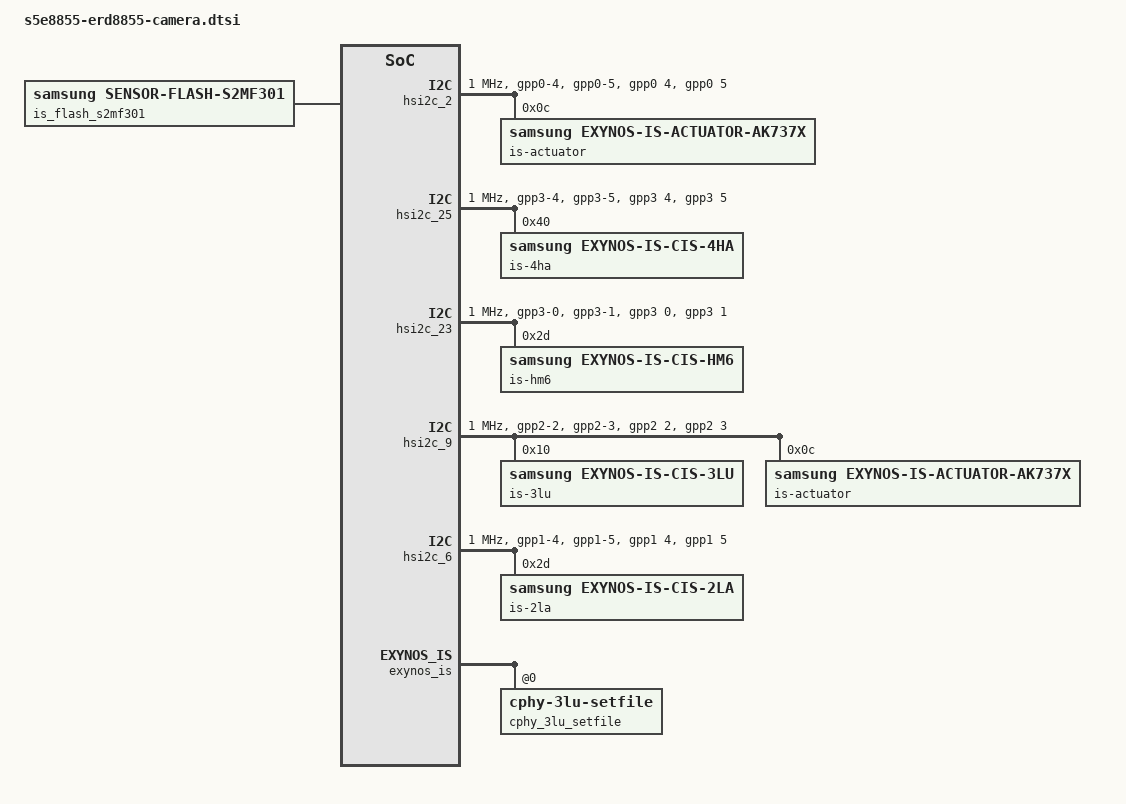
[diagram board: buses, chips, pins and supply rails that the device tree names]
/*
 * Samsung Exynos SoC series Pablo driver
 *
 * Copyright (c) 2024 Samsung Electronics Co., Ltd
 *
 * This program is free software; you can redistribute it and/or modify
 * it under the terms of the GNU General Public License version 2 as
 * published by the Free Software Foundation.
 */

#include <dt-bindings/camera/exynos_is_dt.h>


#include "module_2la.dtsi" /* Ultra Wide CAMERA */
#include "module_3lu.dtsi" /* FRONT CAMERA */
#include "module_hm6_19p2.dtsi" /* REAR CAMERA */
#include "module_4ha.dtsi" /* Tele CAMERA */

/ {
	fragment@camera {
		target-path = "/";
		__overlay__ {
			#address-cells = <2>;
			#size-cells = <1>;
			interrupt-parent = <&gic>;

			is_flash_s2mf301: is_flash_s2mf301@0 {
				compatible = "samsung,sensor-flash-s2mf301";
				sensor-module = <&is_sensor_hm6>,
						<&is_sensor_4ha>,
						<&is_sensor_2la>;
				id = <0 2 4>;
				led_ch = <1>;
				status = "okay";
			};

			/* UW CAMERA */
			is_sensor_2la: is_sensor_2la@2D {
				pinctrl-names = "pin0", "pin1", "pin2", "release";
				pinctrl-0 = <>;
				pinctrl-1 = <&sensor_mclk1_out>;
				pinctrl-2 = <&sensor_mclk1_fn>;
				pinctrl-3 = <>;

				/* board */
				position = <4>;	/* Rear:0. Front1:1. Tele:2. Front2:3. Ultra Wide:4 */
				id = <4>; /* is_sensor id */
				mclk_ch = <1>;
				sensor_i2c_ch = <4>; /* SENSOR_CONTROL_I2C2 */
				sensor_name = "S5K2LA";

				/* peri */
				af {
					product_name = <100>; /* NOTHING */
				};

				flash {
					product_name = <19>; /* S2MF301 */
				};

				ois {
					product_name = <100>; /* NOTHING */
				};

				power_seq {
					use = <1>;
					gpio_mclk = <&gpg0 2 0x1>;

					scenario_normal_on {
						sensor_scenario = <SENSOR_SCENARIO_NORMAL>;
						gpio_scenario = <GPIO_SCENARIO_ON>;

						/* A start node number should be over the 10 for reserved number 0~9. */
						/* pname = "name"; pin = <act value dealy voltage>; gpio = <gpx# # 0x1>; */
						3 { pname; pin; gpio; };
						5 { pname; pin; gpio; };
						10 { pname = "sen_rst low"; pin = <PIN_OUTPUT 0 0>; gpio = <&gpp0 7 0x1>; };
						20 { pname = "VDDA_2.8_UW_CAM"; pin = <PIN_REGULATOR 1 0>; };
						30 { pname = "VDDD_1.05V_CAM"; pin = <PIN_REGULATOR 1 0>; };
						40 { pname = "VDDIO_1.8V_CAM"; pin = <PIN_REGULATOR 1 0>; share = <SRT_ACQUIRE SHARED_PIN0 1>;};
						50 { pname = "on_i2c"; pin = <PIN_I2C 1 10>; };
						60 { pname = "sen_rst high"; pin = <PIN_OUTPUT 1 300>; gpio = <&gpp0 7 0x1>; };
						70 { pname = "pin"; pin = <PIN_FUNCTION 2 0>; };
						80 { pname = "MCLK"; pin = <PIN_MCLK 1 2000>; };
					};

					scenario_vision_on {
						sensor_scenario = <SENSOR_SCENARIO_VISION>;
						gpio_scenario = <GPIO_SCENARIO_ON>;

						/* A start node number should be over the 10 for reserved number 0~9. */
						/* pname = "name"; pin = <act value dealy voltage>; gpio = <gpx# # 0x1>; */
						3 { pname; pin; gpio; };
						5 { pname; pin; gpio; };
						10 { pname = "sen_rst low"; pin = <PIN_OUTPUT 0 0>; gpio = <&gpp0 7 0x1>; };
						20 { pname = "VDDA_2.8_UW_CAM"; pin = <PIN_REGULATOR 1 0>; };
						30 { pname = "VDDD_1.05V_CAM"; pin = <PIN_REGULATOR 1 0>; };
						40 { pname = "VDDIO_1.8V_CAM"; pin = <PIN_REGULATOR 1 0>; share = <SRT_ACQUIRE SHARED_PIN0 1>;};
						50 { pname = "on_i2c"; pin = <PIN_I2C 1 10>; };
						60 { pname = "sen_rst high"; pin = <PIN_OUTPUT 1 300>; gpio = <&gpp0 7 0x1>; };
						70 { pname = "pin"; pin = <PIN_FUNCTION 2 0>; };
						80 { pname = "MCLK"; pin = <PIN_MCLK 1 2000>; };
					};

					scenario_hw_init_normal_on {
						/* HW INIT (without ois power control) */
						sensor_scenario = <SENSOR_SCENARIO_HW_INIT>;
						gpio_scenario = <GPIO_SCENARIO_ON>;

						10 { pname; pin; gpio; };
						20 { pname; pin; gpio; };
						30 { pname; pin; gpio; };
						40 { pname; pin; gpio; };
						50 { pname; pin; gpio; };
						60 { pname; pin; gpio; };
						70 { pname; pin; gpio; };
						80 { pname; pin; gpio; };
						90 { pname; pin; gpio; };
						100 { pname; pin; gpio; };
						110 { pname; pin; gpio; };
						120 { pname; pin; gpio; };
					};

					scenario_normal_off {
						sensor_scenario = <SENSOR_SCENARIO_NORMAL>;
						gpio_scenario = <GPIO_SCENARIO_OFF>;

						/* A start node number should be over the 10 for reserved number 0~9. */
						/* pname = "name"; pin = <act value dealy voltage>; gpio = <gpx# # 0x1>; */
						10 { pname = "sen_rst low"; pin = <PIN_OUTPUT 0 0>; gpio = <&gpp0 7 0x1>; };
						20 { pname = "off_i2c"; pin = <PIN_I2C 0 0>; };
						30 { pname = "VDDIO_1.8V_CAM"; pin = <PIN_REGULATOR 0 0>; share = <SRT_RELEASE SHARED_PIN0 0>;};
						40 { pname = "VDDD_1.05V_CAM"; pin = <PIN_REGULATOR 0 0>; };
						50 { pname = "VDDA_2.8_UW_CAM"; pin = <PIN_REGULATOR 0 0>; };
						60 { pname = "MCLK"; pin = <PIN_MCLK 0 0>; };
						70 { pname = "pin"; pin = <PIN_OUTPUT 0 0>; };
						140 { pname; pin; gpio; };
						145 { pname; pin; gpio; };
					};

					scenario_vision_off {
						sensor_scenario = <SENSOR_SCENARIO_VISION>;
						gpio_scenario = <GPIO_SCENARIO_OFF>;

						/* A start node number should be over the 10 for reserved number 0~9. */
						/* pname = "name"; pin = <act value dealy voltage>; gpio = <gpx# # 0x1>; */
						10 { pname = "sen_rst low"; pin = <PIN_OUTPUT 0 0>; gpio = <&gpp0 7 0x1>; };
						20 { pname = "off_i2c"; pin = <PIN_I2C 0 0>; };
						30 { pname = "VDDIO_1.8V_CAM"; pin = <PIN_REGULATOR 0 0>; share = <SRT_RELEASE SHARED_PIN0 0>;};
						40 { pname = "VDDD_1.05V_CAM"; pin = <PIN_REGULATOR 0 0>; };
						50 { pname = "VDDA_2.8_UW_CAM"; pin = <PIN_REGULATOR 0 0>; };
						60 { pname = "MCLK"; pin = <PIN_MCLK 0 0>; };
						70 { pname = "pin"; pin = <PIN_OUTPUT 0 0>; };
						140 { pname; pin; gpio; };
						145 { pname; pin; gpio; };
					};
				};
			};

			/* REAR CAMERA */
			is_sensor_hm6: is_sensor_hm6@2D {
				pinctrl-names = "pin0", "pin1", "pin2", "release";
				pinctrl-0 = <>;
				pinctrl-1 = <&sensor_mclk0_out>;
				pinctrl-2 = <&sensor_mclk0_fn>;
				pinctrl-3 = <>;

				/* board */
				position = <0>; /* Rear:0. Front:1, Tele:2 */
				id = <0>; /* is_sensor id */
				mclk_ch = <0>;
				mclk_freq = <19200>;
				sensor_i2c_ch = <0>; /* SENSOR_CONTROL_I2C0 */

				/* peri */
				af {
					product_name = <18>; /* ACTUATOR_NAME_AK737X */
					i2c_ch = <1>; /* SENSOR_CONTROL_I2C1 */
				};

				flash {
					product_name = <19>; /* S2MF301 */
				};

				ois {
					product_name = <100>; /* NOTHING */
				};

				eeprom {
					product_name = <100>;
				};

				power_seq {
					gpio_mclk = <&gpg0 1 0x1>;
					scenario_normal_on {
						10 { pname = "sen_rst low";     pin = <PIN_OUTPUT 0 1000>; gpio = <&gpg2 1 0x1>; };
						20 { pname = "VDDIO_1.8V_CAM"; pin = <PIN_REGULATOR 1 0>; share = <SRT_ACQUIRE SHARED_PIN0 1>; };
						30 { pname; pin; gpio; };
						40 { pname = "RCAM1_AVDD_1P8";  pin = <PIN_OUTPUT 1 1000>; gpio = <&gpp3 6 0x1>; };  /* AFVDD, DVDD  OISVDD*/
						50 { pname = "pin";             pin = <PIN_FUNCTION 2 0>; };
						60 { pname = "MCLK";            pin = <PIN_MCLK 1 0>; gpio = <&gpg0 1 0x1>; };
						70 { pname = "delay";           pin = <PIN_NONE 0 13000>; };
						80 { pname = "sen_rst high";    pin = <PIN_OUTPUT 1 50>; gpio = <&gpg2 1 0x1>; };
						85 { pname = "on_i2c";          pin = <PIN_I2C 1 0>; };
						90 { pname; pin; gpio; };
						100 { pname = "delay";          pin = <PIN_NONE 0 0>; };
					};

					scenario_vision_on {
						sensor_scenario = <SENSOR_SCENARIO_VISION>;
						gpio_scenario = <GPIO_SCENARIO_ON>;
						10 { pname = "sen_rst low";     pin = <PIN_OUTPUT 0 1000>; gpio = <&gpg2 1 0x1>; };
						20 { pname = "VDDIO_1.8V_CAM"; pin = <PIN_REGULATOR 1 0>; share = <SRT_ACQUIRE SHARED_PIN0 1>; };
						30 { pname; pin; gpio; };
						40 { pname = "RCAM1_AVDD_1P8";  pin = <PIN_OUTPUT 1 1000>; gpio = <&gpp3 6 0x1>; };  /* AFVDD, DVDD  OISVDD*/
						50 { pname = "pin";             pin = <PIN_FUNCTION 2 0>; };
						60 { pname = "MCLK";            pin = <PIN_MCLK 1 0>; gpio = <&gpg0 1 0x1>; };
						70 { pname = "delay";           pin = <PIN_NONE 0 1000>; };
						80 { pname = "on_i2c";          pin = <PIN_I2C 1 0>; };
						85 { pname; pin; gpio; };
						90 { pname = "sen_rst high";    pin = <PIN_OUTPUT 1 50>; gpio = <&gpg2 1 0x1>; };
						100 { pname = "delay";          pin = <PIN_NONE 0 11000>; };
					};

					scenario_hw_init_normal_on {
						/* HW INIT (without ois power control) */
						sensor_scenario = <SENSOR_SCENARIO_HW_INIT>;
						gpio_scenario = <GPIO_SCENARIO_ON>;

						10 { pname; pin; gpio; };
						20 { pname; pin; gpio; };
						30 { pname; pin; gpio; };
						40 { pname; pin; gpio; };
						50 { pname; pin; gpio; };
						60 { pname; pin; gpio; };
						70 { pname; pin; gpio; };
						80 { pname; pin; gpio; };
						90 { pname; pin; gpio; };
						100 { pname; pin; gpio; };
						110 { pname; pin; gpio; };
						120 { pname; pin; gpio; };
					};

					scenario_normal_off {
						10 { pname = "sen_rst low"; pin = <PIN_OUTPUT 0 500>; gpio = <&gpg2 1 0x1>; };
						15 { pname; pin; gpio; };
						20 { pname = "VDDIO_1.8V_CAM"; pin = <PIN_REGULATOR 0 500>; share = <SRT_ACQUIRE SHARED_PIN0 0>; };
						30 { pname; pin; gpio; };
						40 { pname = "RCAM1_AVDD_1P8";  pin = <PIN_OUTPUT 0 0>; gpio = <&gpp3 6 0x1>; };  /* AFVDD, DVDD  OISVDD*/
						50 { pname = "MCLK";            pin = <PIN_MCLK 0 500>; gpio = <&gpg0 1 0x1>; };
						60 { pname = "pin"; pin = <PIN_FUNCTION 0 0>; };
						70 { pname = "pin"; pin = <PIN_FUNCTION 1 0>; };
						80 { pname = "pin"; pin = <PIN_FUNCTION 0 0>; };
						90 { pname = "off_i2c"; pin = <PIN_I2C 0 0>; };
						100 { pname = "delay"; pin = <PIN_NONE 0 10000>; };
					};

					scenario_vision_off {
						sensor_scenario = <SENSOR_SCENARIO_VISION>;
						gpio_scenario = <GPIO_SCENARIO_OFF>;
						10 { pname = "sen_rst low"; pin = <PIN_OUTPUT 0 500>; gpio = <&gpg2 1 0x1>; };
						15 { pname; pin; gpio; };
						20 { pname = "VDDIO_1.8V_CAM"; pin = <PIN_REGULATOR 0 500>; share = <SRT_ACQUIRE SHARED_PIN0 0>; };
						30 { pname; pin; gpio; };
						40 { pname = "RCAM1_AVDD_1P8";  pin = <PIN_OUTPUT 0 0>; gpio = <&gpp3 6 0x1>; };  /* AFVDD, DVDD  OISVDD*/
						50 { pname = "MCLK";            pin = <PIN_MCLK 0 500>; gpio = <&gpg0 1 0x1>; };
						60 { pname = "pin"; pin = <PIN_FUNCTION 0 0>; };
						70 { pname = "pin"; pin = <PIN_FUNCTION 1 0>; };
						80 { pname = "pin"; pin = <PIN_FUNCTION 0 0>; };
						90 { pname = "off_i2c"; pin = <PIN_I2C 0 0>; };
						100 { pname = "delay"; pin = <PIN_NONE 0 10000>; };
					};

					scenario_ois_factory_on {
						sensor_scenario = <SENSOR_SCENARIO_OIS_FACTORY>;
						gpio_scenario = <GPIO_SCENARIO_ON>;

						/* A start node number should be over the 10 for reserved number 0~9. */
						/* pname = "name"; pin = <act value delay voltage>; gpio = <gpx# # 0x1>; */
						20 { pname; pin; gpio; };
						30 { pname; pin; gpio; };
						40 { pname; pin; gpio; };
						70 { pname; pin; gpio; };
						80 { pname; pin; gpio; };
						85 { pname; pin; gpio; };
					};

					scenario_ois_factory_off {
						sensor_scenario = <SENSOR_SCENARIO_OIS_FACTORY>;
						gpio_scenario = <GPIO_SCENARIO_OFF>;

						/* A start node number should be over the 10 for reserved number 0~9. */
						/* pname = "name"; pin = <act value delay voltage>; gpio = <gpx# # 0x1>; */
						15 { pname; pin; gpio; };
						20 { pname; pin; gpio; };
						30 { pname; pin; gpio; };
						40 { pname; pin; gpio; };
						90 { pname; pin; gpio; };
					};
					scenario_read_rom_on {
						20 { pname = "VDDIO_1.8V_CAM"; pin = <PIN_REGULATOR 1 0>; share = <SRT_ACQUIRE SHARED_PIN0 1>; };
					};

					scenario_read_rom_off {
						20 { pname = "VDDIO_1.8V_CAM"; pin = <PIN_REGULATOR 0 500>; share = <SRT_ACQUIRE SHARED_PIN0 0>; };
					};
				};
			};

			/* FRONT CAMERA */
			is_sensor_3lu: is_sensor_3lu@10 {
				pinctrl-names = "pin0", "pin1", "pin2", "release";
				pinctrl-0 = <>;
				pinctrl-1 = <&sensor_mclk3_out>;
				pinctrl-2 = <&sensor_mclk3_fn>;
				pinctrl-3 = <>;

				/* board */
				position = <1>;	/* Rear:0. Front:1. Rear_sub:2. Secure:3. */
				id = <1>; /* is_sensor id */
				mclk_ch = <3>;
				sensor_i2c_ch = <1>; /* SENSOR_CONTROL_I2C1 */

				/* peri */
				af {
					product_name = <18>; /* ACTUATOR_NAME_AK737X */
					i2c_ch = <5>; /* SENSOR_CONTROL_I2C5 */
				};

				flash {
					product_name = <100>; /* S2MF301 */
				};

				ois {
					product_name = <100>; /* NOTHING */
				};

				vc_extra {
					/* ex) statX = <stat_type, sensor_mode, max_width, max_height, max_element> */
					stat0 = </* not avaliable */>;	/* VC_BUF_DATA_TYPE_SENSOR_STAT1 */
					stat1 = </* not avaliable */>;	/* VC_BUF_DATA_TYPE_GENERAL_STAT1 */
					stat2 = </* not avaliable */>;	/* VC_BUF_DATA_TYPE_SENSOR_STAT2 */
					stat3 = </* not avaliable */>;	/* VC_BUF_DATA_TYPE_GENERAL_STAT2 */
				};

				modes {
				/* common = <width, height, fps, settle, mode, lane, speed, interleave, lrte, pd_mode> */
				/* vcX = <map, hwformat, width, height, hwformat, type, width, height> */
					mode0_secure { /* A-17 */
						common = <4000 3000 60 0 0 CSI_DATA_LANES_3 1862 CSI_MODE_VC_DT
									 LRTE_ENABLE PD_NONE EX_PDSTAT_OFF>;
						vc0 = </* in */ 0 HW_FORMAT_RAW10 DATA_IMG 4000 3000
								/* out */ HW_FORMAT_RAW10 VC_NOTHING 2000 1500>;
						vc1 = </* in */ 2 HW_FORMAT_UNKNOWN DATA_NONE 0 0
								/* out */ HW_FORMAT_UNKNOWN VC_NOTHING 0 0>;
						vc2 = </* in */ 1 HW_FORMAT_RAW10_POTF DATA_HPD 4000 750
								/* out */ HW_FORMAT_RAW10 VC_NOTHING 0 0>;
						vc3 = </* in */ 3 HW_FORMAT_UNKNOWN DATA_NONE 0 0
								/* out */ HW_FORMAT_UNKNOWN VC_NOTHING 0 0>;
						option { votf = <0>; hw_bns = <HW_BNS_2_0>; };
					};
				};

				power_seq {
					use = <1>;
					gpio_mclk = <&gpg1 1 0x1>;

					scenario_normal_on {
						sensor_scenario = <SENSOR_SCENARIO_NORMAL>;
						gpio_scenario = <GPIO_SCENARIO_ON>;

						/* A start node number should be over the 10 for reserved number 0~9. */
						/* pname = "name"; pin = <act value dealy voltage>; gpio = <gpx# # 0x1>; */
						5 { pname; pin; gpio; share; };
						10 { pname = "sen_rst low"; pin = <PIN_OUTPUT 0 0>; gpio = <&gpp0 6 0x1>; share; };
						15 { pname = "VDDIO_1.8V_CAM"; pin = <PIN_REGULATOR 1 1>; share = <SRT_ACQUIRE SHARED_PIN0 1>; };
						20 { pname = "VDDA_2.2V_VT"; pin = <PIN_REGULATOR 1 0>; };
						30 { pname = "VDDD_0.92V_VT"; pin = <PIN_REGULATOR 1 1500>; };
						40 { pname = "VDDAF_2.8_VT_CAM"; pin = <PIN_REGULATOR 1 0>; share = <SRT_ACQUIRE SHARED_PIN1 1>; };
						50 { pname = "sen_rst high"; pin = <PIN_OUTPUT 1 6000>; gpio = <&gpp0 6 0x1>; };
						60 { pname = "on_i2c"; pin = <PIN_I2C 1 10>; gpio;};
						70 { pname = "pin"; pin = <PIN_FUNCTION 2 0>; };
						80 { pname = "MCLK"; pin = <PIN_MCLK 1 11500>; };
					};

					scenario_vision_on {
						sensor_scenario = <SENSOR_SCENARIO_VISION>;
						gpio_scenario = <GPIO_SCENARIO_ON>;

						/* A start node number should be over the 10 for reserved number 0~9. */
						/* pname = "name"; pin = <act value dealy voltage>; gpio = <gpx# # 0x1>; */
						5 { pname; pin; gpio; share; };
						10 { pname = "sen_rst low"; pin = <PIN_OUTPUT 0 0>; gpio = <&gpp0 6 0x1>; share; };
						15 { pname = "VDDIO_1.8V_CAM"; pin = <PIN_REGULATOR 1 1>; share = <SRT_ACQUIRE SHARED_PIN0 1>; };
						20 { pname = "VDDA_2.2V_VT"; pin = <PIN_REGULATOR 1 0>; };
						30 { pname = "VDDD_0.92V_VT"; pin = <PIN_REGULATOR 1 1500>; share; };
						40 { pname = "VDDAF_2.8_VT_CAM"; pin = <PIN_REGULATOR 1 0>; share = <SRT_ACQUIRE SHARED_PIN1 1>; };
						50 { pname = "on_i2c"; pin = <PIN_I2C 1 10>; };
						60 { pname = "sen_rst high"; pin = <PIN_OUTPUT 1 0>; gpio = <&gpp0 6 0x1>; };
						70 { pname = "pin"; pin = <PIN_FUNCTION 2 0>; };
						80 { pname = "MCLK"; pin = <PIN_MCLK 1 11500>; };
					};

					scenario_hw_init_normal_on {
						/* HW INIT (without ois power control) */
						sensor_scenario = <SENSOR_SCENARIO_HW_INIT>;
						gpio_scenario = <GPIO_SCENARIO_ON>;

						5 { pname; pin; gpio; share; };
						10 { pname = "sen_rst low"; pin = <PIN_OUTPUT 0 0>; gpio = <&gpp0 6 0x1>; share; };
						15 { pname = "VDDIO_1.8V_CAM"; pin = <PIN_REGULATOR 1 1>; share = <SRT_ACQUIRE SHARED_PIN0 1>; };
						20 { pname = "VDDA_2.2V_VT"; pin = <PIN_REGULATOR 1 0>; };
						30 { pname = "VDDD_0.92V_VT"; pin = <PIN_REGULATOR 1 1500>; };
						40 { pname = "VDDAF_2.8_VT_CAM"; pin = <PIN_REGULATOR 1 0>; share = <SRT_ACQUIRE SHARED_PIN1 1>; };
						50 { pname = "on_i2c"; pin = <PIN_I2C 1 10>; };
						60 { pname = "sen_rst high"; pin = <PIN_OUTPUT 1 0>; gpio = <&gpp0 6 0x1>; };
						70 { pname = "pin"; pin = <PIN_FUNCTION 2 0>; };
						80 { pname = "MCLK"; pin = <PIN_MCLK 1 11500>; };
					};

					scenario_normal_off {
						sensor_scenario = <SENSOR_SCENARIO_NORMAL>;
						gpio_scenario = <GPIO_SCENARIO_OFF>;

						/* A start node number should be over the 10 for reserved number 0~9. */
						/* pname = "name"; pin = <act value dealy voltage>; gpio = <gpx# # 0x1>; */
						10 { pname = "MCLK"; pin = <PIN_MCLK 0 1>; };
						20 { pname = "pin"; pin = <PIN_FUNCTION 0 0>; };
						30 { pname = "pin"; pin = <PIN_FUNCTION 1 0>; };
						40 { pname = "pin"; pin = <PIN_FUNCTION 0 0>; };
						50 { pname = "rst_low"; pin = <PIN_OUTPUT 0 0>; gpio = <&gpp0 6 0x1>; };
						60 { pname = "off_i2c"; pin = <PIN_I2C 0 0>; };
						70 { pname = "VDDAF_2.8_VT_CAM"; pin = <PIN_REGULATOR 0 0>; share = <SRT_RELEASE SHARED_PIN1 0>; };
						80 { pname = "VDDD_0.92V_VT"; pin = <PIN_REGULATOR 0 0>; };
						90 { pname = "VDDA_2.2V_VT"; pin = <PIN_REGULATOR 0 0>; };
						100 { pname = "VDDIO_1.8V_CAM"; pin = <PIN_REGULATOR 0 0>; share = <SRT_RELEASE SHARED_PIN0 0>; };
						110 { pname; pin; gpio; share; };
						120 { pname; pin; gpio; share; };
					};

					scenario_vision_off {
						sensor_scenario = <SENSOR_SCENARIO_VISION>;
						gpio_scenario = <GPIO_SCENARIO_OFF>;

						/* A start node number should be over the 10 for reserved number 0~9. */
						/* pname = "name"; pin = <act value dealy voltage>; gpio = <gpx# # 0x1>; */
						10 { pname = "MCLK"; pin = <PIN_MCLK 0 1>; };
						20 { pname = "pin"; pin = <PIN_FUNCTION 0 0>; };
						30 { pname = "pin"; pin = <PIN_FUNCTION 1 0>; };
						40 { pname = "pin"; pin = <PIN_FUNCTION 0 0>; };
						50 { pname = "rst_low"; pin = <PIN_OUTPUT 0 0>; gpio = <&gpp0 6 0x1>; };
						60 { pname = "off_i2c"; pin = <PIN_I2C 0 0>; };
						70 { pname = "VDDAF_2.8_VT_CAM"; pin = <PIN_REGULATOR 0 0>; share = <SRT_RELEASE SHARED_PIN1 0>; };
						80 { pname = "VDDD_0.92V_VT"; pin = <PIN_REGULATOR 0 0>; };
						90 { pname = "VDDA_2.2V_VT"; pin = <PIN_REGULATOR 0 0>; };
						100 { pname = "VDDIO_1.8V_CAM"; pin = <PIN_REGULATOR 0 0>; share = <SRT_RELEASE SHARED_PIN0 0>; };
						110 { pname; pin; gpio; share; };
						120 { pname; pin; gpio; share; };
					};

					scenario_read_rom_on {
						10 { pname = "VDDIO_1.8V_CAM"; pin = <PIN_REGULATOR 1 5000>; share = <SRT_ACQUIRE SHARED_PIN0 1>; };
					};

					scenario_read_rom_off {
						20 { pname = "VDDIO_1.8V_CAM"; pin = <PIN_REGULATOR 0 0>; share = <SRT_RELEASE SHARED_PIN0 0>; };
					};
				};
			};

			/* Tele CAMERA */
			is_sensor_4ha: is_sensor_4ha@40 {
				pinctrl-names = "pin0", "pin1", "pin2", "release";
				pinctrl-0 = <>;
				pinctrl-1 = <&sensor_mclk2_out>;
				pinctrl-2 = <&sensor_mclk2_fn>;
				pinctrl-3 = <>;

				/* board */
				position = <2>;	/* Rear:0. Front:1. Rear_sub:2. Secure:3. */
				id = <2>; /* is_sensor id */
				mclk_ch = <2>;
				sensor_i2c_ch = <2>; /* SENSOR_CONTROL_I2C4 */

				/* peri */
				af {
					product_name = <100>; /* NOTHING */
				};

				flash {
					product_name = <19>; /* S2MF301 */
				};

				ois {
					product_name = <100>; /* NOTHING */
				};

				vc_extra {
					/* ex) statX = <stat_type, sensor_mode, max_width, max_height, max_element> */
					stat0 = </* not avaliable */>;	/* VC_BUF_DATA_TYPE_SENSOR_STAT1 */
					stat1 = </* not avaliable */>;	/* VC_BUF_DATA_TYPE_GENERAL_STAT1 */
					stat2 = </* not avaliable */>;	/* VC_BUF_DATA_TYPE_SENSOR_STAT2 */
					stat3 = </* not avaliable */>;	/* VC_BUF_DATA_TYPE_GENERAL_STAT2 */
				};

				modes {
					mode0 {
						common = <3264 2448 30 0 0 CSI_DATA_LANES_4 792 CSI_MODE_VC_ONLY LRTE_DISABLE PD_NONE EX_NONE>;
					};
					mode1 {
						common = <3264 1836 30 0 1 CSI_DATA_LANES_4 792 CSI_MODE_VC_ONLY LRTE_DISABLE PD_NONE>;
					};
					mode2 {
						common = <2880 1980 30 0 2 CSI_DATA_LANES_4 792 CSI_MODE_VC_ONLY LRTE_DISABLE PD_NONE>;
					};
					mode3 {
						common = <2640 1980 30 0 3 CSI_DATA_LANES_4 792 CSI_MODE_VC_ONLY LRTE_DISABLE PD_NONE>;
					};
					mode4 {
						common = <2608 1956 30 0 4 CSI_DATA_LANES_4 792 CSI_MODE_VC_ONLY LRTE_DISABLE PD_NONE>;
					};
					mode5 {
						common = <1632 1224 30 0 5 CSI_DATA_LANES_4 792 CSI_MODE_VC_ONLY LRTE_DISABLE PD_NONE>;
					};
					mode6 {
						common = <1632 916 30 0 6 CSI_DATA_LANES_4 792 CSI_MODE_VC_ONLY LRTE_DISABLE PD_NONE>;
					};
					mode7 {
						common = <800 600 120 0 7 CSI_DATA_LANES_4 792 CSI_MODE_VC_ONLY LRTE_DISABLE PD_NONE>;
					};
				};

				power_seq {
					use = <1>;
					gpio_mclk = <&gpg0 3 0x1>;

                                        scenario_normal_on {
                                                sensor_scenario = <SENSOR_SCENARIO_NORMAL>;
                                                gpio_scenario = <GPIO_SCENARIO_ON>;
                                                /* A start node number should be over the 10 for reserved number 0~9. */
                                                /* pname = "name"; pin = <act value delay voltage>; gpio = <gpx# # 0x1>; */
                                                10 { pname = "sen_rst low"; pin = <PIN_OUTPUT 0 500>; gpio = <&gpg2 0 0x1>; };
						20 { pname = "VDDA_2.8V_UWCAM"; pin = <PIN_REGULATOR 1 0>; };
                                                30 { pname = "VDDD_1.2V_UWCAM"; pin = <PIN_REGULATOR 1 0>; };
                                                40 { pname = "VDDIO_1.8V_CAM"; pin = <PIN_REGULATOR 1 0>; share = <SRT_ACQUIRE SHARED_PIN0 1>; };
                                                50 { pname = "on_i2c"; pin = <PIN_I2C 1 5000>; };
                                                60 { pname = "pin"; pin = <PIN_FUNCTION 2 1500>; };
                                                70 { pname = "MCLK"; pin = <PIN_MCLK 1 1500>; gpio = <&gpg0 3 0x1>; };
                                                80 { pname = "sen_rst high"; pin = <PIN_OUTPUT 1 2000>; gpio = <&gpg2 0 0x1>; };
                                        };

                                        scenario_normal_off {
                                                sensor_scenario = <SENSOR_SCENARIO_NORMAL>;
                                                gpio_scenario = <GPIO_SCENARIO_OFF>;
                                                /* A start node number should be over the 10 for reserved number 0~9. */
                                                /* pname = "name"; pin = <act value delay voltage>; gpio = <gpx# # 0x1>; */
                                                10 { pname = "sen_rst low"; pin = <PIN_OUTPUT 0 500>; gpio = <&gpg2 0 0x1>; };
                                                20 { pname = "MCLK"; pin = <PIN_MCLK 0 500>; gpio = <&gpg0 3 0x1>; };
                                                30 { pname = "pin"; pin = <PIN_FUNCTION 0 0>; };
                                                40 { pname = "pin"; pin = <PIN_FUNCTION 1 0>; };
                                                50 { pname = "pin"; pin = <PIN_FUNCTION 0 0>; };
                                                60 { pname = "off_i2c"; pin = <PIN_I2C 0 0>; };
                                                70 { pname = "VDDIO_1.8V_CAM"; pin = <PIN_REGULATOR 0 500>; share = <SRT_ACQUIRE SHARED_PIN0 0>; };
                                                80 { pname = "VDDD_1.2V_UWCAM"; pin = <PIN_REGULATOR 0 0>; };
                                                90 { pname = "VDDA_2.8V_UWCAM"; pin = <PIN_REGULATOR 0 0>; };
                                        };

                                        scenario_vision_on {
                                                sensor_scenario = <SENSOR_SCENARIO_VISION>;
                                                gpio_scenario = <GPIO_SCENARIO_ON>;

                                                /* A start node number should be over the 10 for reserved number 0~9. */
                                                /* pname = "name"; pin = <act value dealy voltage>; gpio = <gpx# # 0x1>; */
                                                10 { pname = "sen_rst low"; pin = <PIN_OUTPUT 0 500>; gpio = <&gpg2 0 0x1>; };
                                                20 { pname = "VDDA_2.8V_UWCAM"; pin = <PIN_REGULATOR 1 0>; };
                                                30 { pname = "VDDD_1.2V_UWCAM"; pin = <PIN_REGULATOR 1 0>; };
                                                40 { pname = "VDDIO_1.8V_CAM"; pin = <PIN_REGULATOR 1 0>; share = <SRT_ACQUIRE SHARED_PIN0 1>; };
                                                50 { pname = "on_i2c"; pin = <PIN_I2C 1 5000>; };
                                                60 { pname = "pin"; pin = <PIN_FUNCTION 2 1500>; };
                                                70 { pname = "MCLK"; pin = <PIN_MCLK 1 1500>; gpio = <&gpg0 3 0x1>; };
                                                80 { pname = "sen_rst high"; pin = <PIN_OUTPUT 1 2000>; gpio = <&gpg2 0 0x1>; };
                                        };

                                        scenario_vision_off {
                                                sensor_scenario = <SENSOR_SCENARIO_VISION>;
                                                gpio_scenario = <GPIO_SCENARIO_OFF>;

                                                /* A start node number should be over the 10 for reserved number 0~9. */
                                                /* pname = "name"; pin = <act value dealy voltage>; gpio = <gpx# # 0x1>; */
                                                10 { pname = "sen_rst low"; pin = <PIN_OUTPUT 0 500>; gpio = <&gpg2 0 0x1>; };
                                                20 { pname = "MCLK"; pin = <PIN_MCLK 0 500>; gpio = <&gpg0 3 0x1>; };
                                                30 { pname = "pin"; pin = <PIN_FUNCTION 0 0>; };
                                                40 { pname = "pin"; pin = <PIN_FUNCTION 1 0>; };
                                                50 { pname = "pin"; pin = <PIN_FUNCTION 0 0>; };
                                                60 { pname = "off_i2c"; pin = <PIN_I2C 0 0>; };
                                                70 { pname = "VDDIO_1.8V_CAM"; pin = <PIN_REGULATOR 0 500>; share = <SRT_ACQUIRE SHARED_PIN0 0>; };
                                                80 { pname = "VDDD_1.2V_UWCAM"; pin = <PIN_REGULATOR 0 0>; };
                                                90 { pname = "VDDA_2.8V_UWCAM"; pin = <PIN_REGULATOR 0 0>; };
					};

					scenario_read_rom_on {
						sensor_scenario = <SENSOR_SCENARIO_READ_ROM>;
						gpio_scenario = <GPIO_SCENARIO_ON>;
                                                /* pname = "name"; pin = <act value delay voltage>; gpio = <gpx# # 0x1>; */
                                                10 { pname = "sen_rst low"; pin = <PIN_OUTPUT 0 500>; gpio = <&gpg2 0 0x1>; };
                                                20 { pname = "VDDA_2.8V_UWCAM"; pin = <PIN_REGULATOR 1 0>; };
                                                30 { pname = "VDDD_1.2V_UWCAM"; pin = <PIN_REGULATOR 1 0>; };
                                                40 { pname = "VDDIO_1.8V_CAM"; pin = <PIN_REGULATOR 1 0>; share = <SRT_ACQUIRE SHARED_PIN0 1>; };
                                                50 { pname = "on_i2c"; pin = <PIN_I2C 1 5000>; };
                                                60 { pname = "pin"; pin = <PIN_FUNCTION 2 1500>; };
                                                70 { pname = "MCLK"; pin = <PIN_MCLK 1 1500>; gpio = <&gpg0 3 0x1>; };
                                                80 { pname = "sen_rst high"; pin = <PIN_OUTPUT 1 2000>; gpio = <&gpg2 0 0x1>; };
                                        };

                                        scenario_read_rom_off {
                                                sensor_scenario = <SENSOR_SCENARIO_READ_ROM>;
                                                gpio_scenario = <GPIO_SCENARIO_OFF>;
                                                /* pname = "name"; pin = <act value delay voltage>; gpio = <gpx# # 0x1>; */
                                                10 { pname = "sen_rst low"; pin = <PIN_OUTPUT 0 500>; gpio = <&gpg2 0 0x1>; };
                                                20 { pname = "MCLK"; pin = <PIN_MCLK 0 500>; gpio = <&gpg0 3 0x1>; };
                                                30 { pname = "pin"; pin = <PIN_FUNCTION 0 0>; };
                                                40 { pname = "pin"; pin = <PIN_FUNCTION 1 0>; };
                                                50 { pname = "pin"; pin = <PIN_FUNCTION 0 0>; };
                                                60 { pname = "off_i2c"; pin = <PIN_I2C 0 0>; };
                                                70 { pname = "VDDIO_1.8V_CAM"; pin = <PIN_REGULATOR 0 500>; share = <SRT_ACQUIRE SHARED_PIN0 0>; };
                                                80 { pname = "VDDD_1.2V_UWCAM"; pin = <PIN_REGULATOR 0 0>; };
                                                90 { pname = "VDDA_2.8V_UWCAM"; pin = <PIN_REGULATOR 0 0>; };
                                        };

				};
			}; /* 4HA */

			/* FRONT CAMERA */
			is_sensor0: is_sensor0@17480000 {
				reg = <0x0 0x17480000 0x1000>, /* MIPI-CSI0 */
					<0x0 0x174D0000 0x10000>, /* PHY: M0S4S4S4S4_S22 */
					<0x0 0x174E022C 0x10>; /* CSIS_FRO */
				scenario = <SENSOR_SCENARIO_NORMAL>;	/* Normal, Vision, OIS etc */
				id = <1>;	/* VIDEO_SS1 */
				csi_ch = <0>; /* CSI0 */
				status = "okay";
				use_cphy = <1>;

				phy_setfile = <&cphy_3lu_setfile>;
			};

			/* ULTRA WIDE CAMERA */
			is_sensor1: is_sensor1@17490000 {
				reg = <0x0 0x17490000 0x1000>, /* MIPI-CSI1 */
					<0x0 0x174D0000 0x10000>, /* PHY: M0S4S4S4S4_S22 */
					<0x0 0x174E022C 0x10>; /* CSIS_FRO */
				scenario = <SENSOR_SCENARIO_NORMAL>;    /* Normal, Vision, OIS etc */
				id = <4>;
				csi_ch = <1>;
				status = "okay";
				use_cphy = <1>;

				phy_setfile = <&dcphy_setfile_cphy>;
			};

			/* REAR CAMERA */
			is_sensor2: is_sensor2@174A0000 {
				reg = <0x0 0x174A0000 0x1000>, /* MIPI-CSI2 */
					<0x0 0x174D0000 0x10000>, /* PHY: M0S4S4S4S4_S22 */
					<0x0 0x174E022C 0x10>; /* CSIS_FRO */
				scenario = <SENSOR_SCENARIO_NORMAL>;    /* Normal, Vision, OIS etc */
				id = <0>;
				csi_ch = <2>;
				status = "okay";
				use_cphy = <1>;

				phy_setfile = <&dcphy_setfile_cphy>;
			};

			/* TELE CAMERA */
			is_sensor3: is_sensor3@174B0000 {
				reg = <0x0 0x174B0000 0x1000>, /* MIPI-CSI3 */
					<0x0 0x174D0000 0x10000>, /* PHY: M0S4S4S4S4_S22 */
					<0x0 0x174E022C 0x10>; /* CSIS_FRO */
				scenario = <SENSOR_SCENARIO_NORMAL>;    /* Normal, Vision, OIS etc */
				id = <2>;
				csi_ch = <3>;
				status = "okay";
				use_cphy = <0>;

				phy_setfile = <&dphy_setfile>;
			};

			/* CAMERA : 2+2 lane */
			is_sensor4: is_sensor4@174C0000 {
				reg = <0x0 0x174C0000 0x1000>, /* MIPI-CSI4 */
					<0x0 0x174D0000 0x10000>, /* PHY: M0S4S4S4S4_S22 */
					<0x0 0x174E022C 0x10>; /* CSIS_FRO */
				scenario = <SENSOR_SCENARIO_NORMAL>;    /* Normal, Vision, OIS etc */
				id = <5>;
				csi_ch = <4>;
				status = "okay";
				use_cphy = <0>;

				phy_setfile = <&dphy_setfile_2lane>;
			};
		}; /* end of __overlay__ */
	}; /* end of fragment */
}; /* end of root */

/***** reference symbol node *****/
&pinctrl_3 {
	/* Front sensor | WIDE/TELE AF */
	hsi2c9_bus_in: hsi2c9-bus-in {
		samsung,pins = "gpp2-2", "gpp2-3";
		samsung,pin-function = <0>;
		samsung,pin-pud = <3>;
		samsung,pin-drv = <0>;
	};

	hsi2c9_bus: hsi2c9-bus {
		samsung,pins = "gpp2-2", "gpp2-3";
		samsung,pin-function = <3>;
		samsung,pin-pud = <3>;
		samsung,pin-drv = <0>;
	};

	/* U WIDE */
	hsi2c6_bus_in: hsi2c6-bus-in {
		samsung,pins = "gpp1-4", "gpp1-5";
		samsung,pin-function = <0>;
		samsung,pin-pud = <3>;
		samsung,pin-drv = <0>;
	};

	hsi2c6_bus: hsi2c6-bus {
		samsung,pins = "gpp1-4", "gpp1-5";
		samsung,pin-function = <2>;
		samsung,pin-pud = <3>;
		samsung,pin-drv = <0>;
	};

	/* Front AF */
	hsi2c2_bus_in: hsi2c2-bus-in {
		samsung,pins = "gpp0-4", "gpp0-5";
		samsung,pin-function = <0>;
		samsung,pin-pud = <3>;
		samsung,pin-drv = <0>;
	};

	hsi2c2_bus: hsi2c2-bus {
		samsung,pins = "gpp0-4", "gpp0-5";
		samsung,pin-function = <2>;
		samsung,pin-pud = <3>;
		samsung,pin-drv = <0>;
	};
};

&pinctrl_5 {
	/* REAR WIDE */
	hsi2c23_bus_in: hsi2c23-bus-in {
		samsung,pins = "gpp3-0", "gpp3-1";
		samsung,pin-function = <0>;
		samsung,pin-pud = <3>;
		samsung,pin-drv = <0>;
	};

	hsi2c23_bus: hsi2c23-bus {
		samsung,pins = "gpp3-0", "gpp3-1";
		samsung,pin-function = <2>;
		samsung,pin-pud = <3>;
		samsung,pin-drv = <0>;
	};

	/* TELE */
	hsi2c25_bus_in: hsi2c25-bus-in {
		samsung,pins = "gpp3-4", "gpp3-5";
		samsung,pin-function = <0>;
		samsung,pin-pud = <3>;
		samsung,pin-drv = <0>;
	};

	hsi2c25_bus: hsi2c25-bus {
		samsung,pins = "gpp3-4", "gpp3-5";
		samsung,pin-function = <2>;
		samsung,pin-pud = <3>;
		samsung,pin-drv = <0>;
	};

};

&hsi2c_2 {
	#address-cells = <1>;
	#size-cells = <0>;
	gpios = <&gpp0 4 0 &gpp0 5 0>;
	status = "okay";
	clock-frequency = <1000000>;
	samsung,reset-before-trans;

	pinctrl-names = "default","on_i2c","off_i2c";
	pinctrl-0 = <&hsi2c2_bus_in>;
	pinctrl-1 = <&hsi2c2_bus>;
	pinctrl-2 = <&hsi2c2_bus_in>;

	is-actuator@C { /* front AF */
		compatible = "samsung,exynos-is-actuator-ak737x";
		sensor-module = <&is_sensor_3lu>;
		reg = <0x0C>;
		id = <1>; /* matching is_sensor id */
		/* DW9825A */
		vendor_product_id = <0xF3 0x0E>;
		vendor_first_pos = <960>;  /* 12bits */
		vendor_first_delay = <2000>;
		vendor_use_sleep_mode;
		vendor_use_standby_mode; /* with vendor_use_sleep_mode */
		/* delay settings for DW9825A */
		vendor_sleep_to_standby_delay = <3000>;
		vendor_active_to_standby_delay = <300>;
	};
};

&hsi2c_25 {
	#address-cells = <1>;
	#size-cells = <0>;
	gpios = <&gpp3 4 0 &gpp3 5 0>;
	status = "okay";
	clock-frequency = <1000000>;
	samsung,reset-before-trans;
	samsung,fast-plus-mode;

	pinctrl-names = "default","on_i2c","off_i2c";
	pinctrl-0 = <&hsi2c25_bus_in>;
	pinctrl-1 = <&hsi2c25_bus>;
	pinctrl-2 = <&hsi2c25_bus_in>;

	is-4ha@40 {
		compatible = "samsung,exynos-is-cis-4ha";
		sensor-module = <&is_sensor_4ha>;
		reg = <0x40>; /* 1 bit right shift */
		id = <2>; /* matching is_sensor id */
		setfile = "setC";
		rev_reg = <0x0000 2 0x48AB>;
	};
};

&hsi2c_23 {
	#address-cells = <1>;
	#size-cells = <0>;
	gpios = <&gpp3 0 0 &gpp3 1 0>;
	status = "okay";
	clock-frequency = <1000000>;
	samsung,reset-before-trans;
	samsung,fast-plus-mode;

	pinctrl-names = "default","on_i2c","off_i2c";
	pinctrl-0 = <&hsi2c23_bus_in>;
	pinctrl-1 = <&hsi2c23_bus>;
	pinctrl-2 = <&hsi2c23_bus_in>;

	is-hm6@2D {
		compatible = "samsung,exynos-is-cis-hm6";
		sensor-module = <&is_sensor_hm6>;
		reg = <0x2D>; /* 1 bit right shift */
		id = <0>; /* matching is_sensor id */
		setfile = "setB";
		status = "okay";
		rev_reg = <0x0002 2 0xB100>;
	};
};

&hsi2c_9 {
	#address-cells = <1>;
	#size-cells = <0>;
	gpios = <&gpp2 2 0 &gpp2 3 0>;
	status = "okay";
	clock-frequency = <1000000>;
	samsung,reset-before-trans;
	samsung,fast-plus-mode;

	pinctrl-names = "default","on_i2c","off_i2c";
	pinctrl-0 = <&hsi2c9_bus_in>;
	pinctrl-1 = <&hsi2c9_bus>;
	pinctrl-2 = <&hsi2c9_bus_in>;

	is-3lu@10 {
		compatible = "samsung,exynos-is-cis-3lu";
		sensor-module = <&is_sensor_3lu>;
		reg = <0x10>; /* 1 bit right shift */
		id = <1>; /* matching is_sensor id */
		setfile = "default";
		rev_reg = <0x0002 2 0xA101>;
		vendor_use_adaptive_mipi;
	};

	is-actuator@0C { /* wide AF */
		compatible = "samsung,exynos-is-actuator-ak737x";
		sensor-module = <&is_sensor_hm6>;
		reg = <0x0C>;
		id = <0>; /* matching is_sensor id */
		/* AK737x: addr 0xF3, data 0x0E */
		vendor_product_id = <0xF3 0x0E 0xF3 0x13 0xF3 0x00>;
		vendor_first_pos = <250>;
		vendor_first_delay = <2000>;
		vendor_soft_landing_seqid = <1>;
		vendor_soft_landing_list = <100 30 0 30>; /* 1st_pos delay 2nd_pos delay */
		vendor_use_sleep_mode;
		vendor_use_standby_mode; /* AK7377 with vendor_use_sleep_mode */
	};

};

&hsi2c_6 {
	#address-cells = <1>;
	#size-cells = <0>;
	gpios = <&gpp1 4 0 &gpp1 5 0>;
	status = "okay";
	clock-frequency = <1000000>;
	samsung,reset-before-trans;
	samsung,fast-plus-mode;

	pinctrl-names = "default","on_i2c","off_i2c";
	pinctrl-0 = <&hsi2c6_bus_in>;
	pinctrl-1 = <&hsi2c6_bus>;
	pinctrl-2 = <&hsi2c6_bus_in>;

	is-2la@2D {
		compatible = "samsung,exynos-is-cis-2la";
		sensor-module = <&is_sensor_2la>;
		reg = <0x2D>; /* 1 bit right shift */
		id = <4>; /* matching is_sensor id */
		setfile = "setA";
		status = "okay";
		rev_reg = <0x0002 2 0xA202>;
	};
};

&exynos_is {
	vendor {
		use_module_check;
		use_ois;
		check_sensor_vendor;
		ois_sensor_index = <0>;
		aperture_sensor_index = <0>;
		mcu_sensor_index = <0>;

		max_supported_camera = <9>;
		supported_cameraId = <0 1 2 20 21 23 50 52 80>;
		ois_gyro_list = <0x00 0x00 0x01 0x01 0x01>;
		/*
		* Wide(0)
		* Front(1)
		* U Wide(2)
		* Front 80(3) - not available for factory
		* Rear ToF(4) - not available for factory
		* Front Secure(5) - not available for factory
		* Dual Zoom(20)
		* Dual Portrait Tele(21) - Main Tele/Sub Wide
		* Dual Portrait Wide(23) - Main Wide/Sub U Wide
		* Tele 2x2(50)
		* Tele 17.9(52)
		* REAR ToF(80)
		*/

		/* sysfs camera id */
		max_camera_num = <9>;
		sensor_name { /* sensor_position = "name" */
			0 = "S5KHM6";
			1 = "S5K3LU";
			2 = "S5K4HA";
			4 = "S5K2LA";
		};
		camera_info0 {			/* 0 : sysfs rear */
			internal_id = <0>;	/* 0 : wide */
			isp = <0>;		/* 0 : INT, 1 : EXT, 2 : SOC */
			cal_memory = <2>;	/* 0 : N, 1 : FROM, 2 : EEPROM, 3 : OTP */
			read_version = <0>;	/* 0 : SYSFS, 1 : CAMON */
			core_voltage = <0>;	/* 0 : N, 1 : Y */
			upgrade = <0>;		/* 0 : N, 1 : SYSFS , 2 : CAMON */
			fw_write = <0>;		/* 0 : N, 1 : OS, 2 : SD, 3 : ALL */
			fw_dump = <0>;		/* 0 : N, 1 : Y */
			companion = <0>;	/* 0 : N, 1 : Y */
			ois = <1>;		/* 0 : N, 1 : Y */
			valid = <1>;		/* 0 : INVALID, 1 : VALID */
		};
		camera_info1 {			/* 1 : sysfs front */
			internal_id = <1>;	/* 1 : front master */
			isp = <0>;		/* 0 : INT, 1 : EXT, 2 : SOC */
			cal_memory = <2>;	/* 0 : N, 1 : FROM, 2 : EEPROM, 3 : OTP */
			read_version = <0>;	/* 0 : SYSFS, 1 : CAMON */
			core_voltage = <0>;	/* 0 : N, 1 : Y */
			upgrade = <0>;		/* 0 : N, 1 : SYSFS, 2 : CAMON */
			fw_write = <0>;		/* 0 : N, 1 : OS, 2 : SD, 3 : ALL */
			fw_dump = <0>;		/* 0 : N, 1 : Y */
			companion = <0>;	/* 0 : N, 1 : Y */
			ois = <0>;		/* 0 : N, 1 : Y */
			valid = <1>;		/* 0 : INVALID, 1 : VALID */
		};
		camera_info2 {			/* 2 : sysfs rear2 */
			internal_id = <4>;	/* 4 : ultra wide */
			isp = <0>;		/* 0 : INT, 1 : EXT, 2 : SOC */
			cal_memory = <2>;	/* 0 : N, 1 : FROM, 2 : EEPROM, 3 : OTP */
			read_version = <0>;	/* 0 : SYSFS, 1 : CAMON */
			core_voltage = <0>;	/* 0 : N, 1 : Y */
			upgrade = <0>;		/* 0 : N, 1 : SYSFS, 2 : CAMON */
			fw_write = <0>;		/* 0 : N, 1 : OS, 2 : SD, 3 : ALL */
			fw_dump = <0>;		/* 0 : N, 1 : Y */
			companion = <0>;	/* 0 : N, 1 : Y */
			ois = <0>;		/* 0 : N, 1 : Y */
			valid = <1>;		/* 0 : INVALID, 1 : VALID */
		};
		camera_info3 {			/* 3 : sysfs front2 */
			internal_id = <3>;	/* 3 : front sub */
			isp = <0>;		/* 0 : INT, 1 : EXT, 2 : SOC */
			cal_memory = <2>;	/* 0 : N, 1 : FROM, 2 : EEPROM, 3 : OTP */
			read_version = <0>;	/* 0 : SYSFS, 1 : CAMON */
			core_voltage = <0>;	/* 0 : N, 1 : Y */
			upgrade = <0>;		/* 0 : N, 1 : SYSFS, 2 : CAMON */
			fw_write = <0>;		/* 0 : N, 1 : OS, 2 : SD, 3 : ALL */
			fw_dump = <0>;		/* 0 : N, 1 : Y */
			companion = <0>;	/* 0 : N, 1 : Y */
			ois = <0>;		/* 0 : N, 1 : Y */
			valid = <1>;		/* 0 : INVALID, 1 : VALID */
		};
		camera_info4 {			/* 4 : sysfs rear3 */
			internal_id = <2>;	/* 4 : tele */
			isp = <0>;		/* 0 : INT, 1 : EXT, 2 : SOC */
			cal_memory = <2>;	/* 0 : N, 1 : FROM, 2 : EEPROM, 3 : OTP */
			read_version = <0>;	/* 0 : SYSFS, 1 : CAMON */
			core_voltage = <0>;	/* 0 : N, 1 : Y */
			upgrade = <0>;		/* 0 : N, 1 : SYSFS, 2 : CAMON */
			fw_write = <0>;		/* 0 : N, 1 : OS, 2 : SD, 3 : ALL */
			fw_dump = <0>;		/* 0 : N, 1 : Y */
			companion = <0>;	/* 0 : N, 1 : Y */
			ois = <1>;		/* 0 : N, 1 : Y */
			valid = <1>;		/* 0 : INVALID, 1 : VALID   */
		};
		camera_info5 {			/* 5 : sysfs front3 */
			valid = <0>;		/* 0 : INVALID, 1 : VALID */
		};
		camera_info6 {			/* 6 : sysfs rear4 */
			valid = <0>;		/* 0 : INVALID, 1 : VALID */
		};
		camera_info7 {			/* 7 : sysfs front4 */
			valid = <0>;		/* 0 : INVALID, 1 : VALID */
		};
		camera_info8 {			/* 8 : sysfs rear tof */
			valid = <0>;		/* 0 : INVALID, 1 : VALID */
		};
	};

	lic_offsets {
		/* 3AA = <setA lic offset0, setA lic offset1, set A trigger context */
		/*		setB lic offset0, setB lic offset1, set B trigger context> */
		/* 4672: 4640x4352 */
		/* 5824: 5804x4352 */
		3AA = <5461 10922 16383 0 5461 10922 16383 0>;
	};

	is_dvfs {
		table0 {
			desc = "dvfs table v0.2";

			default_int_cam = <0>;
			default_cam = <0>;
			default_csis = <0>;
			default_isp = <0>;
			default_mif = <0>;
			default_icpu = <0>;

			rear_single_photo_csis = <4>;
			rear_single_photo_cam = <5>;
			rear_single_photo_isp = <7>;
			rear_single_photo_int_cam = <5>;
			rear_single_photo_mif = <7>;
			rear_single_photo_icpu = <1>;

			rear_single_photo_full_cam = <5>;
			rear_single_photo_full_isp = <5>;
			rear_single_photo_full_int_cam = <5>;
			rear_single_photo_full_mif = <7>;
			rear_single_photo_full_icpu = <1>;

			rear_single_video_fhd30_isp = <7>;
			rear_single_video_fhd30_int_cam = <5>;
			rear_single_video_fhd30_mif = <7>;
			rear_single_video_fhd30_icpu = <1>;

			rear_single_video_fhd30_supersteady_cam = <7>;
			rear_single_video_fhd30_supersteady_isp = <7>;
			rear_single_video_fhd30_supersteady_int_cam = <5>;
			rear_single_video_fhd30_supersteady_mif = <7>;
			rear_single_video_fhd30_supersteady_icpu = <1>;

			rear_single_video_fhd30_recursive_cam = <1>;
			rear_single_video_fhd30_recursive_isp = <1>;
			rear_single_video_fhd30_recursive_int_cam = <2>;
			rear_single_video_fhd30_recursive_mif = <7>;
			rear_single_video_fhd30_recursive_icpu = <1>;

			rear_single_video_fhd60_cam = <3>;
			rear_single_video_fhd60_isp = <6>;
			rear_single_video_fhd60_int_cam = <5>;
			rear_single_video_fhd60_mif = <3>;
			rear_single_video_fhd60_icpu = <1>;

			rear_single_video_fhd60_supersteady_cam = <3>;
			rear_single_video_fhd60_supersteady_isp = <5>;
			rear_single_video_fhd60_supersteady_int_cam = <5>;
			rear_single_video_fhd60_supersteady_mif = <3>;
			rear_single_video_fhd60_supersteady_icpu = <1>;

			rear_single_video_uhd30_csis = <4>;
			rear_single_video_uhd30_cam = <5>;
			rear_single_video_uhd30_isp = <5>;
			rear_single_video_uhd30_int_cam = <5>;
			rear_single_video_uhd30_mif = <5>;
			rear_single_video_uhd30_icpu = <1>;

			rear_single_video_uhd30_recursive_isp = <1>;
			rear_single_video_uhd30_recursive_int_cam = <1>;
			rear_single_video_uhd30_recursive_mif = <1>;
			rear_single_video_uhd30_recursive_icpu = <0>;

			rear_single_video_uhd30_hf_isp = <6>;
			rear_single_video_uhd30_hf_int_cam = <4>;
			rear_single_video_uhd30_hf_mif = <5>;
			rear_single_video_uhd30_hf_icpu = <1>;

			rear_single_video_uhd60_cam = <4>;
			rear_single_video_uhd60_isp = <4>;
			rear_single_video_uhd60_int_cam = <5>;
			rear_single_video_uhd60_mif = <2>;
			rear_single_video_uhd60_icpu = <1>;

			rear_single_video_uhd60_hf_isp = <4>;
			rear_single_video_uhd60_hf_int_cam = <4>;
			rear_single_video_uhd60_hf_mif = <2>;
			rear_single_video_uhd60_hf_icpu = <1>;

			rear_single_capture_cam = <0>;
			rear_single_capture_isp = <0>;
			rear_single_capture_int_cam = <5>;
			rear_single_capture_mif = <0>;
			rear_single_capture_icpu = <1>;

			rear_single_video_fhd120_cam = <5>;
			rear_single_video_fhd120_isp = <7>;
			rear_single_video_fhd120_int_cam = <5>;
			rear_single_video_fhd120_mif = <2>;
			rear_single_video_fhd120_icpu = <1>;

			rear_single_video_hd240_cam = <7>;
			rear_single_video_hd240_isp = <7>;
			rear_single_video_hd240_int_cam = <5>;
			rear_single_video_hd240_mif = <0>;
			rear_single_video_hd240_icpu = <1>;

			rear_single_remosaic_photo_cam = <0>;
			rear_single_remosaic_photo_isp = <0>;
			rear_single_remosaic_photo_int_cam = <4>;
			rear_single_remosaic_photo_mif = <0>;
			rear_single_remosaic_photo_icpu = <1>;

			rear_single_remosaic_capture_cam = <0>;
			rear_single_remosaic_capture_isp = <0>;
			rear_single_remosaic_capture_int_cam = <5>;
			rear_single_remosaic_capture_mif = <0>;
			rear_single_remosaic_capture_icpu = <0>;

			rear_single_vt_isp = <6>;
			rear_single_vt_int_cam = <4>;
			rear_single_vt_mif = <8>;
			rear_single_vt_icpu = <1>;

			rear_single_fastae_cam = <0>;
			rear_single_fastae_isp = <0>;
			rear_single_fastae_int_cam = <5>;
			rear_single_fastae_mif = <0>;
			rear_single_fastae_icpu = <1>;

			rear_single_tele_photo_full_cam = <7>;
			rear_single_tele_photo_full_isp = <7>;
			rear_single_tele_photo_full_int_cam = <5>;
			rear_single_tele_photo_full_mif = <7>;
			rear_single_tele_photo_full_icpu = <1>;

			rear_single_tele_video_fhd30_isp = <7>;
			rear_single_tele_video_fhd30_int_cam = <5>;
			rear_single_tele_video_fhd30_mif = <7>;
			rear_single_tele_video_fhd30_icpu = <1>;

			rear_single_tele_video_fhd60_cam = <5>;
			rear_single_tele_video_fhd60_isp = <7>;
			rear_single_tele_video_fhd60_int_cam = <5>;
			rear_single_tele_video_fhd60_mif = <5>;
			rear_single_tele_video_fhd60_icpu = <1>;

			rear_single_tele_video_uhd30_cam = <7>;
			rear_single_tele_video_uhd30_isp = <7>;
			rear_single_tele_video_uhd30_int_cam = <5>;
			rear_single_tele_video_uhd30_mif = <6>;
			rear_single_tele_video_uhd30_icpu = <1>;

			rear_single_tele_video_uhd60_isp = <3>;
			rear_single_tele_video_uhd60_int_cam = <4>;
			rear_single_tele_video_uhd60_mif = <2>;
			rear_single_tele_video_uhd60_icpu = <1>;

			rear_dual_wide_tele_photo_isp = <1>;
			rear_dual_wide_tele_photo_int_cam = <1>;
			rear_dual_wide_tele_photo_mif = <0>;
			rear_dual_wide_tele_photo_icpu = <0>;

			rear_dual_wide_tele_video_fhd30_isp = <1>;
			rear_dual_wide_tele_video_fhd30_int_cam = <1>;
			rear_dual_wide_tele_video_fhd30_mif = <0>;
			rear_dual_wide_tele_video_fhd30_icpu = <0>;

			rear_dual_wide_tele_video_fhd60_isp = <1>;
			rear_dual_wide_tele_video_fhd60_int_cam = <1>;
			rear_dual_wide_tele_video_fhd60_mif = <0>;
			rear_dual_wide_tele_video_fhd60_icpu = <0>;

			rear_dual_wide_tele_video_uhd30_isp = <1>;
			rear_dual_wide_tele_video_uhd30_int_cam = <1>;
			rear_dual_wide_tele_video_uhd30_mif = <0>;
			rear_dual_wide_tele_video_uhd30_icpu = <0>;

			rear_dual_wide_tele_video_uhd60_isp = <1>;
			rear_dual_wide_tele_video_uhd60_int_cam = <1>;
			rear_dual_wide_tele_video_uhd60_mif = <0>;
			rear_dual_wide_tele_video_uhd60_icpu = <0>;

			rear_dual_wide_tele_capture_cam = <0>;
			rear_dual_wide_tele_capture_isp = <1>;
			rear_dual_wide_tele_capture_int_cam = <1>;
			rear_dual_wide_tele_capture_mif = <0>;
			rear_dual_wide_tele_capture_icpu = <0>;

			rear_dual_wide_ultrawide_photo_isp = <1>;
			rear_dual_wide_ultrawide_photo_int_cam = <1>;
			rear_dual_wide_ultrawide_photo_mif = <0>;
			rear_dual_wide_ultrawide_photo_icpu = <0>;

			rear_dual_wide_ultrawide_video_fhd30_isp = <1>;
			rear_dual_wide_ultrawide_video_fhd30_int_cam = <1>;
			rear_dual_wide_ultrawide_video_fhd30_mif = <0>;
			rear_dual_wide_ultrawide_video_fhd30_icpu = <0>;

			rear_dual_wide_ultrawide_video_fhd60_isp = <1>;
			rear_dual_wide_ultrawide_video_fhd60_int_cam = <1>;
			rear_dual_wide_ultrawide_video_fhd60_mif = <0>;
			rear_dual_wide_ultrawide_video_fhd60_icpu = <0>;

			rear_dual_wide_ultrawide_video_uhd30_isp = <1>;
			rear_dual_wide_ultrawide_video_uhd30_int_cam = <1>;
			rear_dual_wide_ultrawide_video_uhd30_mif = <0>;
			rear_dual_wide_ultrawide_video_uhd30_icpu = <0>;

			rear_dual_wide_ultrawide_video_uhd60_isp = <1>;
			rear_dual_wide_ultrawide_video_uhd60_int_cam = <1>;
			rear_dual_wide_ultrawide_video_uhd60_mif = <0>;
			rear_dual_wide_ultrawide_video_uhd60_icpu = <0>;

			rear_dual_wide_ultrawide_capture_cam = <0>;
			rear_dual_wide_ultrawide_capture_isp = <1>;
			rear_dual_wide_ultrawide_capture_int_cam = <1>;
			rear_dual_wide_ultrawide_capture_mif = <0>;
			rear_dual_wide_ultrawide_capture_icpu = <0>;

			front_single_photo_cam = <5>;
			front_single_photo_isp = <7>;
			front_single_photo_int_cam = <5>;
			front_single_photo_mif = <7>;
			front_single_photo_icpu = <1>;

			front_single_photo_full_cam = <5>;
			front_single_photo_full_isp = <5>;
			front_single_photo_full_int_cam = <5>;
			front_single_photo_full_mif = <7>;
			front_single_photo_full_icpu = <1>;

			front_single_video_fhd30_isp = <7>;
			front_single_video_fhd30_int_cam = <5>;
			front_single_video_fhd30_mif = <7>;
			front_single_video_fhd30_icpu = <1>;

			front_single_video_fhd30_recursive_isp = <1>;
			front_single_video_fhd30_recursive_int_cam = <1>;
			front_single_video_fhd30_recursive_mif = <1>;
			front_single_video_fhd30_recursive_icpu = <0>;

			front_single_video_uhd30_isp = <6>;
			front_single_video_uhd30_int_cam = <4>;
			front_single_video_uhd30_mif = <6>;
			front_single_video_uhd30_icpu = <1>;

			front_single_video_uhd30_recursive_isp = <1>;
			front_single_video_uhd30_recursive_int_cam = <1>;
			front_single_video_uhd30_recursive_mif = <1>;
			front_single_video_uhd30_recursive_icpu = <0>;

			front_single_video_fhd60_isp = <5>;
			front_single_video_fhd60_int_cam = <3>;
			front_single_video_fhd60_mif = <5>;
			front_single_video_fhd60_icpu = <1>;

			front_single_video_uhd60_hf_isp = <1>;
			front_single_video_uhd60_hf_int_cam = <1>;
			front_single_video_uhd60_hf_mif = <0>;
			front_single_video_uhd60_hf_icpu = <0>;

			front_single_capture_cam = <0>;
			front_single_capture_isp = <0>;
			front_single_capture_int_cam = <5>;
			front_single_capture_mif = <0>;
			front_single_capture_icpu = <1>;

			front_single_vt_isp = <6>;
			front_single_vt_int_cam = <4>;
			front_single_vt_mif = <8>;
			front_single_vt_icpu = <1>;

			front_single_fastae_cam = <0>;
			front_single_fastae_isp = <0>;
			front_single_fastae_int_cam = <5>;
			front_single_fastae_mif = <0>;
			front_single_fastae_icpu = <1>;

			front_single_video_fhd120_cam = <7>;
			front_single_video_fhd120_isp = <7>;
			front_single_video_fhd120_int_cam = <5>;
			front_single_video_fhd120_mif = <2>;
			front_single_video_fhd120_icpu = <1>;

			pip_dual_photo_cam = <2>;
			pip_dual_photo_isp = <7>;
			pip_dual_photo_int_cam = <5>;
			pip_dual_photo_mif = <6>;
			pip_dual_photo_icpu = <0>;

			pip_dual_capture_cam = <0>;
			pip_dual_capture_isp = <0>;
			pip_dual_capture_int_cam = <5>;
			pip_dual_capture_mif = <0>;
			pip_dual_capture_icpu = <0>;

			pip_dual_video_fhd30_cam = <3>;
			pip_dual_video_fhd30_isp = <7>;
			pip_dual_video_fhd30_int_cam = <5>;
			pip_dual_video_fhd30_mif = <5>;
			pip_dual_video_fhd30_icpu = <0>;

			sensor_only_rear_single_cam = <1>;
			sensor_only_rear_single_isp = <1>;
			sensor_only_rear_single_int_cam = <1>;
			sensor_only_rear_single_mif = <1>;
			sensor_only_rear_single_icpu = <0>;

			sensor_only_front_cam = <1>;
			sensor_only_front_isp = <1>;
			sensor_only_front_int_cam = <1>;
			sensor_only_front_mif = <1>;
			sensor_only_front_icpu = <0>;

			throttling_cam = <0>;
			throttling_isp = <0>;
			throttling_int_cam = <4>;
			throttling_mif = <6>;
			throttling_icpu = <0>;

			max_csis = <0>;
			max_cam = <0>;
			max_isp = <0>;
			max_int_cam = <0>;
			max_mif = <0>;
			max_icpu = <0>;
		};
	};

	cphy_3lu_setfile: cphy-3lu-setfile@0 {
		comm {
		    /* clock */
		    0  = <0x0000 0 32 0x0000C4EC IDX_FIX_VAL 0>; /* SC_ANA_CON0 */
		    1  = <0x000C 0 32 0x6E00D000 IDX_FIX_VAL 0>; /* SC_ANA_CON3*/
		};

		lane {
			0  = <0x0000 0 32 0x0460C6EC IDX_FIX_VAL 3>; /* SD_ANA_CON0 */
			1  = <0x0004 0  8 0x00000012 IDX_FIX_VAL 3>; /* SD_ANA_CON1 */
			2  = <0x0004 13 2 0x00000000 IDX_SKW_DLY 3>; /* SD_ANA_CON1 */
			3  = <0x0008 0 32 0xF84D2618 IDX_FIX_VAL 3>; /* SD_ANA_CON2 */
			4  = <0x000C 0 32 0x00000008 IDX_FIX_VAL 3>; /* SD_ANA_CON3 */
			5  = <0x0010 0 32 0x00000012 IDX_FIX_VAL 3>; /* SD_ANA_CON4 */
			6  = <0x0014 0 32 0x00000000 IDX_FIX_VAL 3>; /* SD_ANA_CON5 */
			7  = <0x0054 0 32 0x00050000 IDX_FIX_VAL 3>; /* SD_SERDES_CTRL_CPHY0 */
			8  = <0x0080 0  8 0x00000000 IDX_STL_VAL 3>; /* SD_TIME_CON0 */
			9  = <0x0080 8 32 0x000040F0 IDX_FIX_VAL 3>; /* SD_TIME_CON0 */
			10 = <0x0084 0 32 0x00001500 IDX_FIX_VAL 3>; /* SD_CRC_CON0 */
			11 = <0x008C 0 32 0x3C000000 IDX_FIX_VAL 3>; /* SD_TIME_CON1*/
		};

		conf {
			0  = <0x0004 0 32 0x00009170 IDX_FIX_VAL 0>; /* S_COMMON_CONFIG */
		};

		ccal {
			0  = <0x0000 0 32 0x00031201 IDX_FIX_VAL 3>; /* S_CPHY_CAL_CRC_CON0 */
			1  = <0x0004 0 32 0x00000010 IDX_FIX_VAL 3>; /* S_CPHY_CAL_CRC_CON1 */

		};
	};
};
